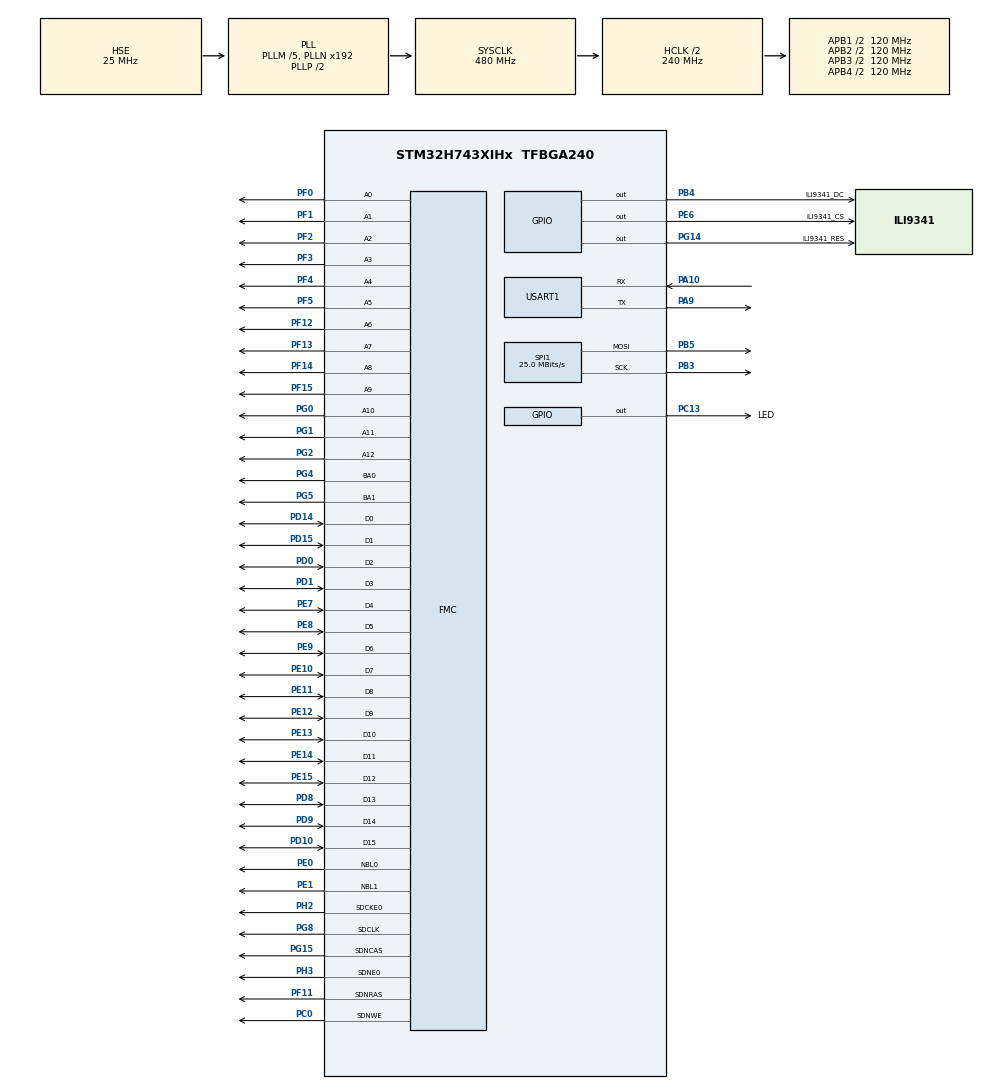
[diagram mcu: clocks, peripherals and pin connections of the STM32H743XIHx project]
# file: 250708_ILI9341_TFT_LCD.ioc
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CORTEX_M7.AccessPermission_S-Cortex_Memory_Protection_Unit_Region4_Settings_S=MPU_REGION_FULL_ACCESS
CORTEX_M7.BaseAddress_S-Cortex_Memory_Protection_Unit_Region4_Settings_S=0xC0000000
CORTEX_M7.CPU_DCache=Enabled
CORTEX_M7.CPU_ICache=Enabled
CORTEX_M7.DisableExec_S-Cortex_Memory_Protection_Unit_Region4_Settings_S=MPU_INSTRUCTION_ACCESS_DISABLE
CORTEX_M7.Enable_S-Cortex_Memory_Protection_Unit_Region4_Settings_S=MPU_REGION_ENABLE
CORTEX_M7.IsShareable_S-Cortex_Memory_Protection_Unit_Region4_Settings_S=MPU_ACCESS_SHAREABLE
CORTEX_M7.Size_S-Cortex_Memory_Protection_Unit_Region4_Settings_S=MPU_REGION_SIZE_32MB
CORTEX_M7.TypeExtField_S-Cortex_Memory_Protection_Unit_Region4_Settings_S=MPU_TEX_LEVEL1
CORTEX_M7.default_mode_Activation=1
Dma.Request0=SPI1_TX
Dma.SPI1_TX.0.Direction=DMA_MEMORY_TO_PERIPH
Dma.SPI1_TX.0.EventEnable=DISABLE
Dma.SPI1_TX.0.FIFOMode=DMA_FIFOMODE_DISABLE
Dma.SPI1_TX.0.Instance=DMA1_Stream0
Dma.SPI1_TX.0.MemDataAlignment=DMA_MDATAALIGN_BYTE
Dma.SPI1_TX.0.MemInc=DMA_MINC_ENABLE
Dma.SPI1_TX.0.Mode=DMA_NORMAL
Dma.SPI1_TX.0.PeriphDataAlignment=DMA_PDATAALIGN_BYTE
Dma.SPI1_TX.0.PeriphInc=DMA_PINC_DISABLE
Dma.SPI1_TX.0.Polarity=HAL_DMAMUX_REQ_GEN_RISING
Dma.SPI1_TX.0.Priority=DMA_PRIORITY_LOW
Dma.SPI1_TX.0.RequestNumber=1
Dma.SPI1_TX.0.SignalID=NONE
Dma.SPI1_TX.0.SyncEnable=DISABLE
Dma.SPI1_TX.0.SyncPolarity=HAL_DMAMUX_SYNC_NO_EVENT
Dma.SPI1_TX.0.SyncRequestNumber=1
Dma.SPI1_TX.0.SyncSignalID=NONE
FMC.CASLatency1=FMC_SDRAM_CAS_LATENCY_2
FMC.ColumnBitsNumber1=FMC_SDRAM_COLUMN_BITS_NUM_9
FMC.ExitSelfRefreshDelay1=9
FMC.LoadToActiveDelay1=2
FMC.RCDDelay1=3
FMC.RPDelay1=3
FMC.RowCycleDelay1=8
FMC.SDClockPeriod1=FMC_SDRAM_CLOCK_PERIOD_2
FMC.SelfRefreshTime1=6
FMC.WriteRecoveryTime1=3
Mcu.Family=STM32H7
Mcu.Name=STM32H743XIHx
Mcu.Package=TFBGA240
NVIC.DMA1_Stream0_IRQn=true\:0\:0\:false\:false\:true\:false\:true\:true
NVIC.PriorityGroup=NVIC_PRIORITYGROUP_4
NVIC.SPI1_IRQn=true\:0\:0\:false\:false\:true\:false\:true\:true
PA10.Mode=Asynchronous
PA10.Signal=USART1_RX
PA13\ (JTMS/SWDIO).Mode=Serial_Wire
PA13\ (JTMS/SWDIO).Signal=DEBUG_JTMS-SWDIO
PA14\ (JTCK/SWCLK).Mode=Serial_Wire
PA14\ (JTCK/SWCLK).Signal=DEBUG_JTCK-SWCLK
PA9.Mode=Asynchronous
PA9.Signal=USART1_TX
PB3\ (JTDO/TRACESWO).Mode=TX_Only_Simplex_Unidirect_Master
PB3\ (JTDO/TRACESWO).Signal=SPI1_SCK
PB4\ (NJTRST).GPIO_Label=ILI9341_DC
PB4\ (NJTRST).Signal=GPIO_Output
PB5.Mode=TX_Only_Simplex_Unidirect_Master
PB5.Signal=SPI1_MOSI
PC0.Signal=FMC_SDNWE
PC13.GPIO_Label=LED
PC13.Signal=GPIO_Output
PD0.Signal=FMC_D2_DA2
PD1.Signal=FMC_D3_DA3
PD10.Signal=FMC_D15_DA15
PD14.Signal=FMC_D0_DA0
PD15.Signal=FMC_D1_DA1
PD8.Signal=FMC_D13_DA13
PD9.Signal=FMC_D14_DA14
PE0.Signal=FMC_NBL0
PE1.Signal=FMC_NBL1
PE10.Signal=FMC_D7_DA7
PE11.Signal=FMC_D8_DA8
PE12.Signal=FMC_D9_DA9
PE13.Signal=FMC_D10_DA10
PE14.Signal=FMC_D11_DA11
PE15.Signal=FMC_D12_DA12
PE6.GPIO_Label=ILI9341_CS
PE6.Signal=GPIO_Output
PE7.Signal=FMC_D4_DA4
PE8.Signal=FMC_D5_DA5
PE9.Signal=FMC_D6_DA6
PF0.Signal=FMC_A0
PF1.Signal=FMC_A1
PF11.Signal=FMC_SDNRAS
PF12.Signal=FMC_A6
PF13.Signal=FMC_A7
PF14.Signal=FMC_A8
PF15.Signal=FMC_A9
PF2.Signal=FMC_A2
PF3.Signal=FMC_A3
PF4.Signal=FMC_A4
PF5.Signal=FMC_A5
PG0.Signal=FMC_A10
PG1.Signal=FMC_A11
PG14.GPIO_Label=ILI9341_RES
PG14.Signal=GPIO_Output
PG15.Signal=FMC_SDNCAS
PG2.Signal=FMC_A12
PG4.Signal=FMC_A14_BA0
PG5.Signal=FMC_A15_BA1
PG8.Signal=FMC_SDCLK
PH0-OSC_IN\ (PH0).Mode=HSE-External-Oscillator
PH0-OSC_IN\ (PH0).Signal=RCC_OSC_IN
PH1-OSC_OUT\ (PH1).Mode=HSE-External-Oscillator
PH1-OSC_OUT\ (PH1).Signal=RCC_OSC_OUT
PH2.Mode=SdramChipSelect1_1
PH2.Signal=FMC_SDCKE0
PH3.Mode=SdramChipSelect1_1
PH3.Signal=FMC_SDNE0
ProjectManager.HeapSize=0x200
ProjectManager.StackSize=0x400
ProjectManager.TargetToolchain=STM32CubeIDE
RCC.ADCFreq_Value=50390625
RCC.APB1Freq_Value=120000000
RCC.APB2Freq_Value=120000000
RCC.APB3Freq_Value=120000000
RCC.APB4Freq_Value=120000000
RCC.CortexFreq_Value=480000000
RCC.D1PPRE=RCC_APB3_DIV2
RCC.D2PPRE1=RCC_APB1_DIV2
RCC.D2PPRE2=RCC_APB2_DIV2
RCC.D3PPRE=RCC_APB4_DIV2
RCC.DIVM1=5
RCC.DIVM3=25
RCC.DIVN1=192
RCC.DIVN3=200
RCC.HCLKFreq_Value=240000000
RCC.HPRE=RCC_HCLK_DIV2
RCC.PLLFRACN=0
RCC.PLLSourceVirtual=RCC_PLLSOURCE_HSE
RCC.SPI123CLockSelection=RCC_SPI123CLKSOURCE_PLL3
RCC.SYSCLKFreq_VALUE=480000000
RCC.SYSCLKSource=RCC_SYSCLKSOURCE_PLLCLK
RCC.USBFreq_Value=480000000
SH.FMC_A0.0=FMC_A0,13b-sda1
SH.FMC_A1.0=FMC_A1,13b-sda1
SH.FMC_A10.0=FMC_A10,13b-sda1
SH.FMC_A11.0=FMC_A11,13b-sda1
SH.FMC_A12.0=FMC_A12,13b-sda1
SH.FMC_A14_BA0.0=FMC_BA0,FourSdramBanks1
SH.FMC_A15_BA1.0=FMC_BA1,FourSdramBanks1
SH.FMC_A2.0=FMC_A2,13b-sda1
SH.FMC_A3.0=FMC_A3,13b-sda1
SH.FMC_A4.0=FMC_A4,13b-sda1
SH.FMC_A5.0=FMC_A5,13b-sda1
SH.FMC_A6.0=FMC_A6,13b-sda1
SH.FMC_A7.0=FMC_A7,13b-sda1
SH.FMC_A8.0=FMC_A8,13b-sda1
SH.FMC_A9.0=FMC_A9,13b-sda1
SH.FMC_D0_DA0.0=FMC_D0,sd-16b-d1
SH.FMC_D10_DA10.0=FMC_D10,sd-16b-d1
SH.FMC_D11_DA11.0=FMC_D11,sd-16b-d1
SH.FMC_D12_DA12.0=FMC_D12,sd-16b-d1
SH.FMC_D13_DA13.0=FMC_D13,sd-16b-d1
SH.FMC_D14_DA14.0=FMC_D14,sd-16b-d1
SH.FMC_D15_DA15.0=FMC_D15,sd-16b-d1
SH.FMC_D1_DA1.0=FMC_D1,sd-16b-d1
SH.FMC_D2_DA2.0=FMC_D2,sd-16b-d1
SH.FMC_D3_DA3.0=FMC_D3,sd-16b-d1
SH.FMC_D4_DA4.0=FMC_D4,sd-16b-d1
SH.FMC_D5_DA5.0=FMC_D5,sd-16b-d1
SH.FMC_D6_DA6.0=FMC_D6,sd-16b-d1
SH.FMC_D7_DA7.0=FMC_D7,sd-16b-d1
SH.FMC_D8_DA8.0=FMC_D8,sd-16b-d1
SH.FMC_D9_DA9.0=FMC_D9,sd-16b-d1
SH.FMC_NBL0.0=FMC_NBL0,Sd2ByteEnable1
SH.FMC_NBL1.0=FMC_NBL1,Sd2ByteEnable1
SH.FMC_SDCLK.0=FMC_SDCLK,13b-sda1
SH.FMC_SDNCAS.0=FMC_SDNCAS,13b-sda1
SH.FMC_SDNRAS.0=FMC_SDNRAS,13b-sda1
SH.FMC_SDNWE.0=FMC_SDNWE,13b-sda1
SPI1.BaudRatePrescaler=SPI_BAUDRATEPRESCALER_4
SPI1.CalculateBaudRate=25.0 MBits/s
SPI1.DataSize=SPI_DATASIZE_8BIT
SPI1.Direction=SPI_DIRECTION_2LINES_TXONLY
SPI1.Mode=SPI_MODE_MASTER
SPI1.NSSPMode=SPI_NSS_PULSE_DISABLE
SPI1.VirtualType=VM_MASTER
USART1.VirtualMode-Asynchronous=VM_ASYNC
VP_MEMORYMAP_VS_MEMORYMAP.Mode=CurAppReg
board=custom

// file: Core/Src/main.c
/* USER CODE BEGIN Header */
/**
  ******************************************************************************
  * @file           : main.c
  * @brief          : Main program body
  ******************************************************************************
  * @attention
  *
  * Copyright (c) 2025 STMicroelectronics.
  * All rights reserved.
  *
  * This software is licensed under terms that can be found in the LICENSE file
  * in the root directory of this software component.
  * If no LICENSE file comes with this software, it is provided AS-IS.
  *
  ******************************************************************************
  */
/* USER CODE END Header */
#include "main.h"
#include "dma.h"
#include "memorymap.h"
#include "spi.h"
#include "usart.h"
#include "gpio.h"
#include "fmc.h"

/* USER CODE BEGIN Includes */
#include <stdio.h>
#include "ili9341.h"
#include "fonts.h"
#include "testimg.h"
#include "pic_240x320.h"
#include "ili9341_touch.h"
#include "younghee.h"
/* USER CODE END Includes */

/* USER CODE BEGIN PTD */
extern const unsigned char sunset[];
/* USER CODE END PTD */

void SystemClock_Config(void);
static void MPU_Config(void);
/* USER CODE BEGIN PFP */
bool SDRAM_initialize(void);
/* USER CODE END PFP */

/* USER CODE BEGIN 0 */
int __io_putchar(int ch)
{
	HAL_UART_Transmit(&huart1, (uint8_t *)&ch, 1, 1000);

	return ch;
}

void HAL_SPI_TxCpltCallback(SPI_HandleTypeDef *hspi)
{
	if(hspi->Instance == SPI1) {
		printf("SPI DMA Complete\n");
	}
}

/* USER CODE END 0 */

int main(void)
{

  /* MPU Configuration--------------------------------------------------------*/
  MPU_Config();

  /* Enable the CPU Cache */

  /* Enable I-Cache---------------------------------------------------------*/
  SCB_EnableICache();

  /* Enable D-Cache---------------------------------------------------------*/
  SCB_EnableDCache();

  /* MCU Configuration--------------------------------------------------------*/

  /* Reset of all peripherals, Initializes the Flash interface and the Systick. */
  HAL_Init();

  /* Configure the system clock */
  SystemClock_Config();

  /* Initialize all configured peripherals */
  MX_GPIO_Init();
  MX_DMA_Init();
  MX_SPI1_Init();
  MX_USART1_UART_Init();
  MX_FMC_Init();
  /* USER CODE BEGIN 2 */
  SDRAM_initialize();

  uint8_t *sdramAddr = (uint8_t *)0xC0000000;

  for (int i=0; i<100; i++) {
	  sdramAddr[i] = i;
  }

  for (int i=0; i<100; i++){
	  printf("sdramAddr[%d] = %d\n", i, sdramAddr[i]);
  }

  for (uint32_t i=0; i<320*240*2; i++) {
	  sdramAddr[i] = pic_240x320[i];
  }

  ILI9341_Init(); // lcd 초기화
  printf("Hello STM32!\n");
//  HAL_SPI_Transmit_DMA(&hspi1, younghee, 100);

  /* USER CODE END 2 */

  /* Infinite loop */
  /* USER CODE BEGIN WHILE */
  while (1)
  {
	  HAL_GPIO_TogglePin(GPIOC, GPIO_PIN_13);
	  //HAL_Delay(200);

//	  ILI9341_FillScreen(ILI9341_RED);
//	  HAL_Delay(1000);
//	  ILI9341_FillScreen(ILI9341_GREEN);
//	  HAL_Delay(1000);
//	  ILI9341_FillScreen(ILI9341_BLUE);
//	  HAL_Delay(1000);

//	  ILI9341_DrawImage((ILI9341_WIDTH - 240)/2, (ILI9341_HEIGHT - 240)/2, 240, 240, (const uint16_t *)test_img_240x240);
//	  HAL_Delay(2000);
//	  ILI9341_DrawImage8((ILI9341_WIDTH - 240)/2, (ILI9341_HEIGHT - 320)/2, 240, 320, (const uint8_t *)pic_240x320);
	  ILI9341_DrawImage8((ILI9341_WIDTH - 240)/2, (ILI9341_HEIGHT - 320)/2, 240, 320, (const uint8_t *)sdramAddr);
	  ILI9341_WriteString(0, 200, "Font_7x10, KCCI STC HARMAN Semicon Academy", Font_7x10, ILI9341_BLUE, ILI9341_BLACK);
	  HAL_Delay(2000);
//	  ILI9341_DrawImage8((ILI9341_WIDTH - 240)/2, (ILI9341_HEIGHT - 320)/2, 240, 320, (const unsigned char *)younghee);
//	  ILI9341_WriteString(15, 280, "Squid Game Younghee", Font_11x18, ILI9341_MAGENTA, ILI9341_BLACK);
//	  HAL_Delay(2000);
//	  ILI9341_FillScreen(ILI9341_BLACK);
//	  ILI9341_DrawImage8((ILI9341_WIDTH - 64)/2, (ILI9341_HEIGHT - 64)/2, 64, 64, (const unsigned char *)sunset);
//	  ILI9341_WriteString(87, 280, "Sunset", Font_11x18, ILI9341_RED, ILI9341_WHITE);
//	  HAL_Delay(2000);
//	  ILI9341_FillScreen(ILI9341_BLACK);
////	  if(!ili9341_dma_busy){
//		  ILI9341_DrawImage8_DMA((ILI9341_WIDTH - 240)/2, (ILI9341_HEIGHT - 320)/2, 240, 320, (const unsigned char *)younghee);
//		  ILI9341_WriteString(15, 280, "Squid Game Younghee", Font_11x18, ILI9341_MAGENTA, ILI9341_BLACK);
//		  HAL_Delay(2000);
//		  ILI9341_FillScreen(ILI9341_BLACK);
//		  ILI9341_DrawImage8_DMA((ILI9341_WIDTH - 64)/2, (ILI9341_HEIGHT - 64)/2, 64, 64, (const unsigned char *)sunset);
//		  ILI9341_WriteString(87, 280, "Sunset", Font_11x18, ILI9341_RED, ILI9341_WHITE);
//		  HAL_Delay(2000);
//		  ILI9341_FillScreen(ILI9341_BLACK);
//	  }
    /* USER CODE END WHILE */

  }
}

void SystemClock_Config(void)
{
  RCC_OscInitTypeDef RCC_OscInitStruct = {0};
  RCC_ClkInitTypeDef RCC_ClkInitStruct = {0};

  /** Supply configuration update enable
  */
  HAL_PWREx_ConfigSupply(PWR_LDO_SUPPLY);

  /** Configure the main internal regulator output voltage
  */
  __HAL_PWR_VOLTAGESCALING_CONFIG(PWR_REGULATOR_VOLTAGE_SCALE0);

  while(!__HAL_PWR_GET_FLAG(PWR_FLAG_VOSRDY)) {}

  /** Initializes the RCC Oscillators according to the specified parameters
  * in the RCC_OscInitTypeDef structure.
  */
  RCC_OscInitStruct.OscillatorType = RCC_OSCILLATORTYPE_HSE;
  RCC_OscInitStruct.HSEState = RCC_HSE_ON;
  RCC_OscInitStruct.PLL.PLLState = RCC_PLL_ON;
  RCC_OscInitStruct.PLL.PLLSource = RCC_PLLSOURCE_HSE;
  RCC_OscInitStruct.PLL.PLLM = 5;
  RCC_OscInitStruct.PLL.PLLN = 192;
  RCC_OscInitStruct.PLL.PLLP = 2;
  RCC_OscInitStruct.PLL.PLLQ = 2;
  RCC_OscInitStruct.PLL.PLLR = 2;
  RCC_OscInitStruct.PLL.PLLRGE = RCC_PLL1VCIRANGE_2;
  RCC_OscInitStruct.PLL.PLLVCOSEL = RCC_PLL1VCOWIDE;
  RCC_OscInitStruct.PLL.PLLFRACN = 0;
  if (HAL_RCC_OscConfig(&RCC_OscInitStruct) != HAL_OK)
  {
    Error_Handler();
  }

  /** Initializes the CPU, AHB and APB buses clocks
  */
  RCC_ClkInitStruct.ClockType = RCC_CLOCKTYPE_HCLK|RCC_CLOCKTYPE_SYSCLK
                              |RCC_CLOCKTYPE_PCLK1|RCC_CLOCKTYPE_PCLK2
                              |RCC_CLOCKTYPE_D3PCLK1|RCC_CLOCKTYPE_D1PCLK1;
  RCC_ClkInitStruct.SYSCLKSource = RCC_SYSCLKSOURCE_PLLCLK;
  RCC_ClkInitStruct.SYSCLKDivider = RCC_SYSCLK_DIV1;
  RCC_ClkInitStruct.AHBCLKDivider = RCC_HCLK_DIV2;
  RCC_ClkInitStruct.APB3CLKDivider = RCC_APB3_DIV2;
  RCC_ClkInitStruct.APB1CLKDivider = RCC_APB1_DIV2;
  RCC_ClkInitStruct.APB2CLKDivider = RCC_APB2_DIV2;
  RCC_ClkInitStruct.APB4CLKDivider = RCC_APB4_DIV2;

  if (HAL_RCC_ClockConfig(&RCC_ClkInitStruct, FLASH_LATENCY_4) != HAL_OK)
  {
    Error_Handler();
  }
}

/* USER CODE BEGIN 4 */
bool SDRAM_initialize(void)
{
   SDRAM_HandleTypeDef *p_sdram  = &hsdram1;

   static FMC_SDRAM_CommandTypeDef Command;

   // Step 1: Configure a clock configuration enable command
   //
   Command.CommandMode            = FMC_SDRAM_CMD_CLK_ENABLE;
   Command.CommandTarget          = FMC_SDRAM_CMD_TARGET_BANK1;
   Command.AutoRefreshNumber      = 1;
   Command.ModeRegisterDefinition = 0;
   if(HAL_SDRAM_SendCommand(p_sdram, &Command, 1000) != HAL_OK)
   {
      return false;
   }

   // Step 2: Insert 100 us minimum delay */
   // Inserted delay is equal to 1 ms due to systick time base unit (ms)
   //
   HAL_Delay(1);

   // Step 3: Configure a PALL (precharge all) command
   //
   Command.CommandMode            = FMC_SDRAM_CMD_PALL;
   Command.CommandTarget          = FMC_SDRAM_CMD_TARGET_BANK1;
   Command.AutoRefreshNumber      = 1;
   Command.ModeRegisterDefinition = 0;
   if(HAL_SDRAM_SendCommand(p_sdram, &Command, 1000) != HAL_OK)
   {
      return false;
   }

   // Step 4: Configure a Refresh command
   //
   Command.CommandMode            = FMC_SDRAM_CMD_AUTOREFRESH_MODE;
   Command.CommandTarget          = FMC_SDRAM_CMD_TARGET_BANK1;
   Command.AutoRefreshNumber      = 8;
   Command.ModeRegisterDefinition = 0;
   if(HAL_SDRAM_SendCommand(p_sdram, &Command, 1000) != HAL_OK)
   {
      return false;
   }

   // Step 5: Program the external memory mode register
   //
   uint32_t mode_reg = 0;

   mode_reg |= (0 << 0); // Burst Length = 1
   mode_reg |= (0 << 3); // Burst Type
   //   0 : Sequential
   //   1 : Interleaved
   mode_reg |= (2 << 4); // CAS Latency Mode
   //   2 :
   //   3 :
   mode_reg |= (0 << 7); // Operation Mode
   mode_reg |= (1 << 9); // Write Burst Mode
   //   0 : Programmed Burst Length
   //   1 : Single Location Access

   Command.CommandMode            = FMC_SDRAM_CMD_LOAD_MODE;
   Command.CommandTarget          = FMC_SDRAM_CMD_TARGET_BANK1;
   Command.AutoRefreshNumber      = 1;
   Command.ModeRegisterDefinition = mode_reg;
   if(HAL_SDRAM_SendCommand(p_sdram, &Command, 1000) != HAL_OK)
   {
      return false;
   }

   // Step 6: Set the refresh rate counter
   //
   // refresh rate = (COUNT + 1) * SDRAM clock freq (94.4444Mhz)
   //
   // COUNT = (SDRAM refresh period/Number of rows) - 20
   //       = (64ms / 8192) - 20
   //       = 7.81us * 94.444 - 20 = 717
   uint32_t refresh_count = 917;

   if(HAL_SDRAM_ProgramRefreshRate(p_sdram, refresh_count) != HAL_OK)
   {
      return false;
   }

   return true;
}
/* USER CODE END 4 */

 /* MPU Configuration */

void MPU_Config(void)
{
  MPU_Region_InitTypeDef MPU_InitStruct = {0};

  /* Disables the MPU */
  HAL_MPU_Disable();

  /** Initializes and configures the Region and the memory to be protected
  */
  MPU_InitStruct.Enable = MPU_REGION_ENABLE;
  MPU_InitStruct.Number = MPU_REGION_NUMBER0;
  MPU_InitStruct.BaseAddress = 0x0;
  MPU_InitStruct.Size = MPU_REGION_SIZE_4GB;
  MPU_InitStruct.SubRegionDisable = 0x87;
  MPU_InitStruct.TypeExtField = MPU_TEX_LEVEL0;
  MPU_InitStruct.AccessPermission = MPU_REGION_NO_ACCESS;
  MPU_InitStruct.DisableExec = MPU_INSTRUCTION_ACCESS_DISABLE;
  MPU_InitStruct.IsShareable = MPU_ACCESS_SHAREABLE;
  MPU_InitStruct.IsCacheable = MPU_ACCESS_NOT_CACHEABLE;
  MPU_InitStruct.IsBufferable = MPU_ACCESS_NOT_BUFFERABLE;

  HAL_MPU_ConfigRegion(&MPU_InitStruct);

  /** Initializes and configures the Region and the memory to be protected
  */
  MPU_InitStruct.Number = MPU_REGION_NUMBER4;
  MPU_InitStruct.BaseAddress = 0xC0000000;
  MPU_InitStruct.Size = MPU_REGION_SIZE_32MB;
  MPU_InitStruct.SubRegionDisable = 0x0;
  MPU_InitStruct.TypeExtField = MPU_TEX_LEVEL1;
  MPU_InitStruct.AccessPermission = MPU_REGION_FULL_ACCESS;

  HAL_MPU_ConfigRegion(&MPU_InitStruct);
  /* Enables the MPU */
  HAL_MPU_Enable(MPU_PRIVILEGED_DEFAULT);

}

void Error_Handler(void)
{
  __disable_irq();
  while (1)
  {
  }
}
